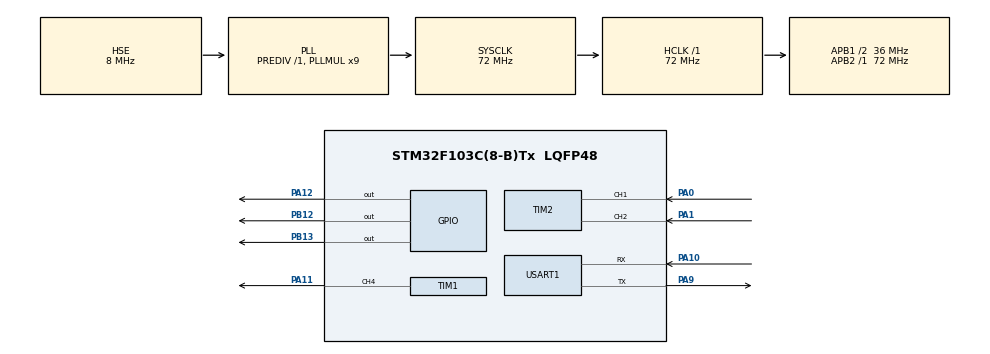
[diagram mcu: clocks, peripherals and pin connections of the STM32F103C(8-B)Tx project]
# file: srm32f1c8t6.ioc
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FREERTOS.Queues01=encoderqueue,5,int16_t,0,Dynamic,NULL,NULL;encoderqueue2,5,int16_t,0,Dynamic,NULL,NULL
FREERTOS.Tasks01=defaultTask,24,128,StartDefaultTask,Default,NULL,Dynamic,NULL,NULL;ledandmotorTask,24,128,ledandmotor,Default,NULL,Dynamic,NULL,NULL;usart_senttask,8,128,usart_sent,Default,NULL,Dynamic,NULL,NULL;data_collecttas,8,128,data_collect,Default,NULL,Dynamic,NULL,NULL
Mcu.Family=STM32F1
Mcu.Name=STM32F103C(8-B)Tx
Mcu.Package=LQFP48
NVIC.PriorityGroup=NVIC_PRIORITYGROUP_4
NVIC.TIM3_IRQn=true\:15\:0\:false\:false\:true\:false\:false\:true\:true
NVIC.TimeBase=TIM3_IRQn
NVIC.TimeBaseIP=TIM3
PA0-WKUP.Signal=S_TIM2_CH1_ETR
PA1.Signal=S_TIM2_CH2
PA10.Mode=Asynchronous
PA10.Signal=USART1_RX
PA11.Signal=S_TIM1_CH4
PA12.PinState=GPIO_PIN_SET
PA12.Signal=GPIO_Output
PA13.Mode=Serial_Wire
PA13.Signal=SYS_JTMS-SWDIO
PA14.Mode=Serial_Wire
PA14.Signal=SYS_JTCK-SWCLK
PA9.Mode=Asynchronous
PA9.Signal=USART1_TX
PB12.Signal=GPIO_Output
PB13.PinState=GPIO_PIN_SET
PB13.Signal=GPIO_Output
PC14-OSC32_IN.Mode=LSE-External-Oscillator
PC14-OSC32_IN.Signal=RCC_OSC32_IN
PC15-OSC32_OUT.Mode=LSE-External-Oscillator
PC15-OSC32_OUT.Signal=RCC_OSC32_OUT
PD0-OSC_IN.Mode=HSE-External-Oscillator
PD0-OSC_IN.Signal=RCC_OSC_IN
PD1-OSC_OUT.Mode=HSE-External-Oscillator
PD1-OSC_OUT.Signal=RCC_OSC_OUT
ProjectManager.HeapSize=0x200
ProjectManager.StackSize=0x400
ProjectManager.TargetToolchain=MDK-ARM V5.32
RCC.AHBFreq_Value=72000000
RCC.APB1CLKDivider=RCC_HCLK_DIV2
RCC.APB1Freq_Value=36000000
RCC.APB1TimFreq_Value=72000000
RCC.APB2Freq_Value=72000000
RCC.APB2TimFreq_Value=72000000
RCC.HCLKFreq_Value=72000000
RCC.PLLMUL=RCC_PLL_MUL9
RCC.PLLSourceVirtual=RCC_PLLSOURCE_HSE
RCC.SYSCLKFreq_VALUE=72000000
RCC.SYSCLKSource=RCC_SYSCLKSOURCE_PLLCLK
RCC.USBFreq_Value=72000000
SH.S_TIM1_CH4.0=TIM1_CH4,PWM Generation4 CH4
SH.S_TIM2_CH1_ETR.0=TIM2_CH1,Encoder_Interface
SH.S_TIM2_CH2.0=TIM2_CH2,Encoder_Interface
TIM1.Channel-PWM\ Generation4\ CH4=TIM_CHANNEL_4
TIM1.Period=100-1
TIM1.Prescaler=7200-1
TIM2.EncoderMode=TIM_ENCODERMODE_TI12
TIM2.IC1Filter=6
TIM2.IC2Filter=6
USART1.VirtualMode=VM_ASYNC
VP_FREERTOS_VS_CMSIS_V2.Mode=CMSIS_V2
VP_SYS_VS_tim3.Mode=TIM3
VP_TIM1_VS_ClockSourceINT.Mode=Internal
board=custom

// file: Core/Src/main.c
/* USER CODE BEGIN Header */
/**
  ******************************************************************************
  * @file           : main.c
  * @brief          : Main program body
  ******************************************************************************
  * @attention
  *
  * Copyright (c) 2026 STMicroelectronics.
  * All rights reserved.
  *
  * This software is licensed under terms that can be found in the LICENSE file
  * in the root directory of this software component.
  * If no LICENSE file comes with this software, it is provided AS-IS.
  *
  ******************************************************************************
  */
/* USER CODE END Header */
#include "main.h"
#include "cmsis_os.h"
#include "tim.h"
#include "usart.h"
#include "gpio.h"

/* USER CODE BEGIN Includes */
#include "pwm_motor.h"
#include "tim_encoder.h"

/* USER CODE END Includes */

void SystemClock_Config(void);
void MX_FREERTOS_Init(void);

int main(void)
{

  /* MCU Configuration--------------------------------------------------------*/

  /* Reset of all peripherals, Initializes the Flash interface and the Systick. */
  HAL_Init();

  /* Configure the system clock */
  SystemClock_Config();

  /* Initialize all configured peripherals */
  MX_GPIO_Init();
  MX_USART1_UART_Init();
  MX_TIM1_Init();
  MX_TIM2_Init();
  /* USER CODE BEGIN 2 */
	pwm_motor_init();				//初始化由PWM驱动的电机
	tim_encoder_init();			//TIM2开启编码器模式

  /* USER CODE END 2 */

  /* Init scheduler */
  osKernelInitialize();  /* Call init function for freertos objects (in cmsis_os2.c) */
  MX_FREERTOS_Init();

  /* Start scheduler */
  osKernelStart();

  /* We should never get here as control is now taken by the scheduler */

  /* Infinite loop */
  while (1)
  {

  }
}

void SystemClock_Config(void)
{
  RCC_OscInitTypeDef RCC_OscInitStruct = {0};
  RCC_ClkInitTypeDef RCC_ClkInitStruct = {0};

  /** Initializes the RCC Oscillators according to the specified parameters
  * in the RCC_OscInitTypeDef structure.
  */
  RCC_OscInitStruct.OscillatorType = RCC_OSCILLATORTYPE_HSE;
  RCC_OscInitStruct.HSEState = RCC_HSE_ON;
  RCC_OscInitStruct.HSEPredivValue = RCC_HSE_PREDIV_DIV1;
  RCC_OscInitStruct.HSIState = RCC_HSI_ON;
  RCC_OscInitStruct.PLL.PLLState = RCC_PLL_ON;
  RCC_OscInitStruct.PLL.PLLSource = RCC_PLLSOURCE_HSE;
  RCC_OscInitStruct.PLL.PLLMUL = RCC_PLL_MUL9;
  if (HAL_RCC_OscConfig(&RCC_OscInitStruct) != HAL_OK)
  {
    Error_Handler();
  }

  /** Initializes the CPU, AHB and APB buses clocks
  */
  RCC_ClkInitStruct.ClockType = RCC_CLOCKTYPE_HCLK|RCC_CLOCKTYPE_SYSCLK
                              |RCC_CLOCKTYPE_PCLK1|RCC_CLOCKTYPE_PCLK2;
  RCC_ClkInitStruct.SYSCLKSource = RCC_SYSCLKSOURCE_PLLCLK;
  RCC_ClkInitStruct.AHBCLKDivider = RCC_SYSCLK_DIV1;
  RCC_ClkInitStruct.APB1CLKDivider = RCC_HCLK_DIV2;
  RCC_ClkInitStruct.APB2CLKDivider = RCC_HCLK_DIV1;

  if (HAL_RCC_ClockConfig(&RCC_ClkInitStruct, FLASH_LATENCY_2) != HAL_OK)
  {
    Error_Handler();
  }
}

void HAL_TIM_PeriodElapsedCallback(TIM_HandleTypeDef *htim)
{
  if (htim->Instance == TIM3)
  {
    HAL_IncTick();
  }
}

void Error_Handler(void)
{
  __disable_irq();
  while (1)
  {
  }
}

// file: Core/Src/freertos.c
/* USER CODE BEGIN Header */
/**
  ******************************************************************************
  * File Name          : freertos.c
  * Description        : Code for freertos applications
  ******************************************************************************
  * @attention
  *
  * Copyright (c) 2026 STMicroelectronics.
  * All rights reserved.
  *
  * This software is licensed under terms that can be found in the LICENSE file
  * in the root directory of this software component.
  * If no LICENSE file comes with this software, it is provided AS-IS.
  *
  ******************************************************************************
  */
/* USER CODE END Header */

#include "FreeRTOS.h"
#include "task.h"
#include "main.h"
#include "cmsis_os.h"

/* USER CODE BEGIN Includes */
extern TIM_HandleTypeDef htim2;

/* USER CODE END Includes */

/* Definitions for defaultTask */
osThreadId_t defaultTaskHandle;
const osThreadAttr_t defaultTask_attributes = {
  .name = "defaultTask",
  .stack_size = 128 * 4,
  .priority = (osPriority_t) osPriorityNormal,
};
/* Definitions for ledandmotorTask */
osThreadId_t ledandmotorTaskHandle;
const osThreadAttr_t ledandmotorTask_attributes = {
  .name = "ledandmotorTask",
  .stack_size = 128 * 4,
  .priority = (osPriority_t) osPriorityNormal,
};
/* Definitions for usart_senttask */
osThreadId_t usart_senttaskHandle;
const osThreadAttr_t usart_senttask_attributes = {
  .name = "usart_senttask",
  .stack_size = 128 * 4,
  .priority = (osPriority_t) osPriorityLow,
};
/* Definitions for data_collecttas */
osThreadId_t data_collecttasHandle;
const osThreadAttr_t data_collecttas_attributes = {
  .name = "data_collecttas",
  .stack_size = 128 * 4,
  .priority = (osPriority_t) osPriorityLow,
};
/* Definitions for encoderqueue */
osMessageQueueId_t encoderqueueHandle;
const osMessageQueueAttr_t encoderqueue_attributes = {
  .name = "encoderqueue"
};
/* Definitions for encoderqueue2 */
osMessageQueueId_t encoderqueue2Handle;
const osMessageQueueAttr_t encoderqueue2_attributes = {
  .name = "encoderqueue2"
};

void StartDefaultTask(void *argument);
void ledandmotor(void *argument);
void usart_sent(void *argument);
void data_collect(void *argument);

void MX_FREERTOS_Init(void); /* (MISRA C 2004 rule 8.1) */

void MX_FREERTOS_Init(void) {

  /* Create the queue(s) */
  /* creation of encoderqueue */
  encoderqueueHandle = osMessageQueueNew (5, sizeof(int16_t), &encoderqueue_attributes);

  /* creation of encoderqueue2 */
  encoderqueue2Handle = osMessageQueueNew (5, sizeof(int16_t), &encoderqueue2_attributes);

  /* Create the thread(s) */
  /* creation of defaultTask */
  defaultTaskHandle = osThreadNew(StartDefaultTask, NULL, &defaultTask_attributes);

  /* creation of ledandmotorTask */
  ledandmotorTaskHandle = osThreadNew(ledandmotor, NULL, &ledandmotorTask_attributes);

  /* creation of usart_senttask */
  usart_senttaskHandle = osThreadNew(usart_sent, NULL, &usart_senttask_attributes);

  /* creation of data_collecttas */
  data_collecttasHandle = osThreadNew(data_collect, NULL, &data_collecttas_attributes);

}

void StartDefaultTask(void *argument)
{
  /* USER CODE BEGIN StartDefaultTask */
  /* Infinite loop */
  for(;;)
  {
    osDelay(1000);
  }
  /* USER CODE END StartDefaultTask */
}

void ledandmotor(void *argument)
{
  /* USER CODE BEGIN ledandmotor */
	int16_t spectrl = 0;//电机PWM控制值

  /* Infinite loop */
  for(;;)
  {
		static uint8_t cnt = 0;	//方波测试

		if(cnt == 0)
		{
		// 发送正向速度PWM信号
		pwm_motor_ctrl_send(spectrl);
		cnt = 1;
		}else if(cnt == 1)
		{
		// 发送反向速度PWM信号
		pwm_motor_ctrl_send(-spectrl);
		cnt = 0;
		}

		// 翻转LED引脚状态，实现LED闪烁
		HAL_GPIO_TogglePin(GPIOA,GPIO_PIN_12);//LED闪烁

    osDelay(1000);
  }
  /* USER CODE END ledandmotor */
}

void usart_sent(void *argument)
{
  /* USER CODE BEGIN usart_sent */
  /* Infinite loop */
  for(;;)
  {
		// 存储从消息队列获取的速度值
		static int16_t spe = 0;
		// 存储从消息队列获取的位置值
		static int16_t loc = 0;

		// 从消息队列encoderqueueHandle获取速度数据，无限期等待
		osMessageQueueGet(encoderqueueHandle,&spe,NULL,osWaitForever);

		// 从消息队列encoderqueue2Handle获取位置数据，无限期等待
		osMessageQueueGet(encoderqueue2Handle,&loc,NULL,osWaitForever);

		// 通过串口打印速度值
		printf("%d,%d\n",spe,loc);

    // 任务延迟1毫秒
    osDelay(1);
  }
  /* USER CODE END usart_sent */
}

void data_collect(void *argument)
{
  /* USER CODE BEGIN data_collect */
  /* Infinite loop */
  for(;;)
  {
		// 静态变量：spe存储编码器速度，loc存储累计位置
		static int16_t spe;
		static int16_t loc;

		// 读取TIM2计数器的当前值（编码器计数值）
		spe = __HAL_TIM_GET_COUNTER(&htim2);
		// 将TIM2计数器重置为中间值32000（用于有符号速度计算）
		__HAL_TIM_SET_COUNTER(&htim2,32000);
		// 计算相对于中间值的偏移量，得到有符号速度
		spe -= 32000;
		// 累计位置（积分速度得到位置）
		loc += spe;

		// 将速度值放入消息队列，等待时间为0，优先级为1
		osMessageQueuePut(encoderqueueHandle,&spe,0,1);

		// 将位置值放入消息队列，等待时间为0，优先级为1
		osMessageQueuePut(encoderqueue2Handle,&loc,0,1);

    // 任务延迟30毫秒
    osDelay(30);
  }
  /* USER CODE END data_collect */
}
